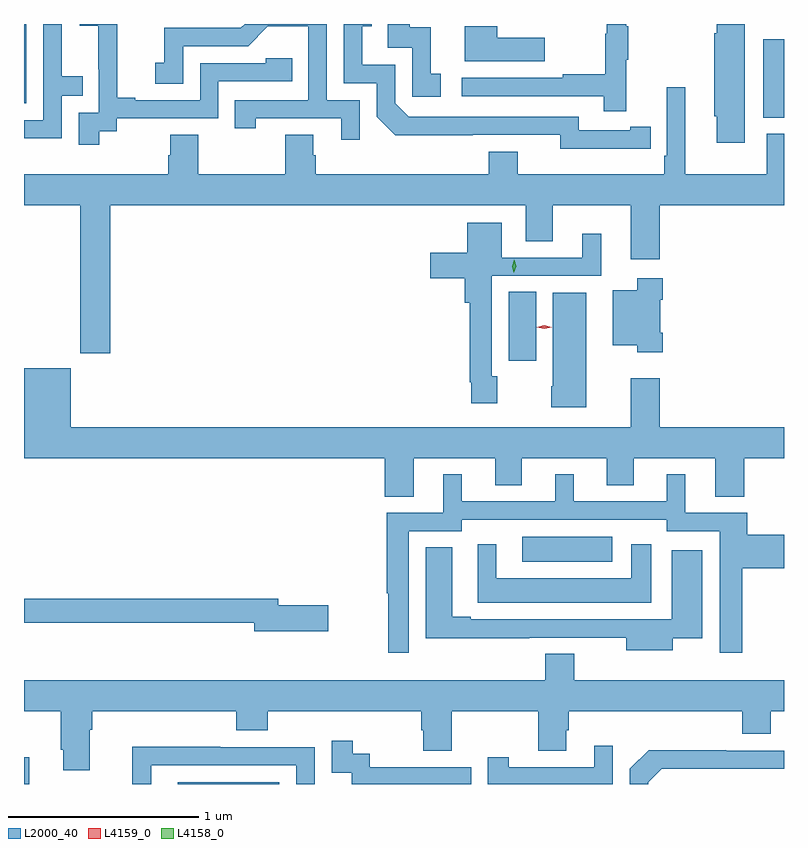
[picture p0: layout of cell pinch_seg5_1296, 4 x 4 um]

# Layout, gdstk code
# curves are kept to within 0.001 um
import gdstk
lib = gdstk.Library(unit=1e-6, precision=1e-09)
def R(c, l, rs):  # rectangles x0, y0, x1, y1
    for r in rs: c.add(gdstk.rectangle(r[:2], r[2:], *l))
def P(c, l, *ps):  # polygons
    for p in ps: c.add(gdstk.Polygon(p, *l))
L2000_40 = (2000, 40)
L4158_0 = (4158, 0)
L4159_0 = (4159, 0)

pinch_seg5_1296 = lib.new_cell('pinch_seg5_1296')
R(pinch_seg5_1296, L2000_40, [(348.837,892.342,348.865,892.483), (349.647,892.342,350.181,892.35), (351.459,893.513,351.934,893.644), (351.389,894.57,351.532,894.932), (352.727,895.849,352.837,896.263), (348.837,895.926,348.849,896.342)])
P(pinch_seg5_1296, L2000_40, [(349.234,895.777),(349.326,895.777),(349.326,895.845),(349.86,895.845),(349.86,896.04),(350.249,896.04),(350.249,896.163),(350.109,896.163),(350.109,896.136),(349.764,896.136),(349.764,895.941),(349.423,895.941),(349.423,895.954),(349.328,895.954),(349.328,896.237),(349.329,896.237),(349.329,896.342),(349.131,896.342),(349.131,896.333),(349.229,896.333),(349.229,896.105),(349.23,896.105),(349.23,895.875),(349.125,895.875),(349.125,895.707),(349.234,895.707)],
  [(350.604,895.941),(350.43,895.941),(350.43,896.342),(349.999,896.342),(349.979,896.322),(349.576,896.322),(349.576,896.137),(349.527,896.137),(349.527,896.028),(349.674,896.028),(349.674,896.226),(350.016,896.226),(350.12,896.33),(350.334,896.33),(350.334,895.941),(349.945,895.941),(349.945,895.794),(350.056,895.794),(350.056,895.845),(350.507,895.845),(350.507,895.734),(350.604,895.734)],
  [(352.028,895.686),(352.136,895.686),(352.136,895.802),(352.028,895.802),(352.028,895.782),(351.756,895.782),(351.756,895.854),(350.862,895.854),(350.79,895.926),(350.79,896.127),(350.617,896.127),(350.617,896.331),(350.666,896.331),(350.666,896.342),(350.52,896.342),(350.52,896.031),(350.694,896.031),(350.694,895.854),(350.792,895.757),(351.66,895.758),(351.66,895.685)],
  [(349.035,895.965),(349.145,895.965),(349.145,896.066),(349.035,896.066),(349.035,896.342),(348.939,896.342),(348.939,895.836),(348.837,895.836),(348.837,895.74),(349.035,895.74)],
  [(351.031,896.079),(350.978,896.079),(350.978,896.326),(350.867,896.326),(350.867,896.342),(350.751,896.342),(350.751,896.217),(350.88,896.217),(350.88,895.959),(351.031,895.959)],
  [(352.63,896.342),(352.484,896.342),(352.484,896.293),(352.469,896.293),(352.469,895.857),(352.484,895.857),(352.484,895.716),(352.63,895.716)],
  [(352.007,896.155),(352.018,896.155),(352.018,896.329),(352.007,896.329),(352.007,896.342),(351.904,896.342),(351.904,896.292),(351.897,896.292),(351.897,896.078),(351.673,896.078),(351.673,896.058),(351.141,896.058),(351.141,895.962),(351.889,895.962),(351.889,895.884),(352.007,895.884)],
  [(351.577,896.269),(351.329,896.269),(351.329,896.329),(351.158,896.329),(351.158,896.147),(351.577,896.147)],
  [(349.292,895.388),(351.479,895.388),(351.479,895.198),(351.619,895.198),(351.619,895.388),(352.031,895.388),(352.031,895.104),(352.184,895.104),(352.184,895.388),(352.837,895.388),(352.837,895.764),(352.745,895.764),(352.745,895.552),(352.318,895.552),(352.318,896.008),(352.221,896.008),(352.221,895.648),(352.208,895.648),(352.208,895.552),(351.436,895.552),(351.436,895.669),(351.284,895.669),(351.284,895.552),(350.372,895.552),(350.372,895.65),(350.359,895.65),(350.359,895.76),(350.212,895.76),(350.212,895.552),(349.755,895.552),(349.755,895.76),(349.607,895.76),(349.607,895.65),(349.595,895.65),(349.595,895.552),(348.837,895.552),(348.837,895.388),(349.132,895.388),(349.132,894.609),(349.292,894.609)],
  [(351.327,894.489),(351.3,894.489),(351.3,895.017),(351.874,895.017),(351.874,895.237),(351.776,895.237),(351.776,895.113),(351.352,895.113),(351.352,895.297),(351.17,895.297),(351.17,895.138),(350.976,895.138),(350.976,895.004),(351.158,895.004),(351.158,894.875),(351.184,894.875),(351.184,894.457),(351.192,894.457),(351.192,894.345),(351.327,894.345)],
  [(352.199,894.718),(352.186,894.718),(352.186,894.89),(352.199,894.89),(352.199,895.003),(352.064,895.003),(352.064,894.94),(351.935,894.94),(351.935,894.65),(352.064,894.65),(352.064,894.614),(352.199,894.614)],
  [(351.796,894.928),(351.62,894.928),(351.62,894.436),(351.613,894.436),(351.613,894.324),(351.796,894.324)],
  [(350.887,894.056),(351.317,894.056),(351.317,893.914),(351.457,893.914),(351.457,894.056),(351.905,894.056),(351.905,893.914),(352.045,893.914),(352.045,894.056),(352.475,894.056),(352.475,893.854),(352.628,893.854),(352.628,894.056),(352.837,894.056),(352.837,894.22),(352.184,894.22),(352.184,894.478),(352.031,894.478),(352.031,894.22),(349.084,894.22),(349.084,894.529),(348.837,894.529),(348.837,894.056),(350.735,894.056),(350.735,893.854),(350.887,893.854)],
  [(350.862,893.673),(351.141,893.673),(351.141,893.733),(352.221,893.733),(352.221,893.673),(352.5,893.673),(352.5,893.034),(352.616,893.034),(352.616,893.477),(352.837,893.477),(352.837,893.655),(352.643,893.655),(352.643,893.769),(352.318,893.769),(352.318,893.971),(352.22,893.971),(352.22,893.829),(351.73,893.829),(351.73,893.971),(351.632,893.971),(351.632,893.829),(351.142,893.829),(351.142,893.971),(351.044,893.971),(351.044,893.769),(350.746,893.769),(350.746,893.346),(350.754,893.346),(350.754,893.034),(350.862,893.034)],
  [(352.138,893.605),(352.034,893.605),(352.034,893.425),(351.322,893.425),(351.322,893.605),(351.224,893.605),(351.224,893.297),(352.138,893.297)],
  [(352.252,893.11),(352.408,893.11),(352.408,893.572),(352.247,893.572),(352.247,893.208),(351.187,893.208),(351.187,893.221),(351.091,893.221),(351.091,893.587),(350.951,893.587),(350.951,893.11),(351.497,893.11),(351.497,893.112),(352.007,893.112),(352.007,893.045),(352.252,893.045)],
  [(350.437,893.282),(350.176,893.282),(350.176,893.318),(348.837,893.318),(348.837,893.19),(350.048,893.19),(350.048,893.147),(350.437,893.147)],
  [(349.183,892.628),(349.196,892.628),(349.196,892.724),(349.955,892.724),(349.955,892.625),(350.12,892.625),(350.12,892.724),(350.927,892.724),(350.927,892.626),(350.939,892.626),(350.939,892.516),(351.087,892.516),(351.087,892.724),(351.544,892.724),(351.544,892.516),(351.691,892.516),(351.691,892.626),(351.704,892.626),(351.704,892.724),(352.616,892.724),(352.616,892.607),(352.768,892.607),(352.768,892.724),(352.837,892.724),(352.837,892.888),(351.733,892.888),(351.733,893.027),(351.581,893.027),(351.581,892.888),(348.837,892.888),(348.837,892.724),(349.031,892.724),(349.031,892.522),(349.043,892.522),(349.043,892.415),(349.183,892.415)],
  [(351.192,892.431),(350.658,892.431),(350.658,892.5),(350.566,892.5),(350.566,892.57),(350.457,892.57),(350.457,892.401),(350.562,892.401),(350.562,892.342),(351.192,892.342)],
  [(351.936,892.543),(351.839,892.543),(351.839,892.431),(351.388,892.431),(351.388,892.483),(351.277,892.483),(351.277,892.342),(351.936,892.342)],
  [(349.506,892.44),(350.271,892.44),(350.271,892.342),(350.367,892.342),(350.367,892.536),(349.871,892.536),(349.871,892.538),(349.408,892.538),(349.408,892.342),(349.506,892.342)],
  [(352.122,892.35),(352.194,892.422),(352.837,892.422),(352.837,892.518),(352.532,892.518),(352.532,892.52),(352.124,892.52),(352.026,892.422),(352.026,892.342),(352.122,892.342)])
P(pinch_seg5_1296, L4158_0, [(351.415,895.032),(351.415,895.032),(351.407,895.067),(351.418,895.101),(351.418,895.102),(351.418,895.101),(351.427,895.066),(351.415,895.032)])
P(pinch_seg5_1296, L4159_0, [(351.575,894.737),(351.535,894.746),(351.535,894.747),(351.535,894.747),(351.575,894.757),(351.615,894.747),(351.615,894.747),(351.615,894.746)])

lib.write_gds('pinch_seg5_1296.gds')
